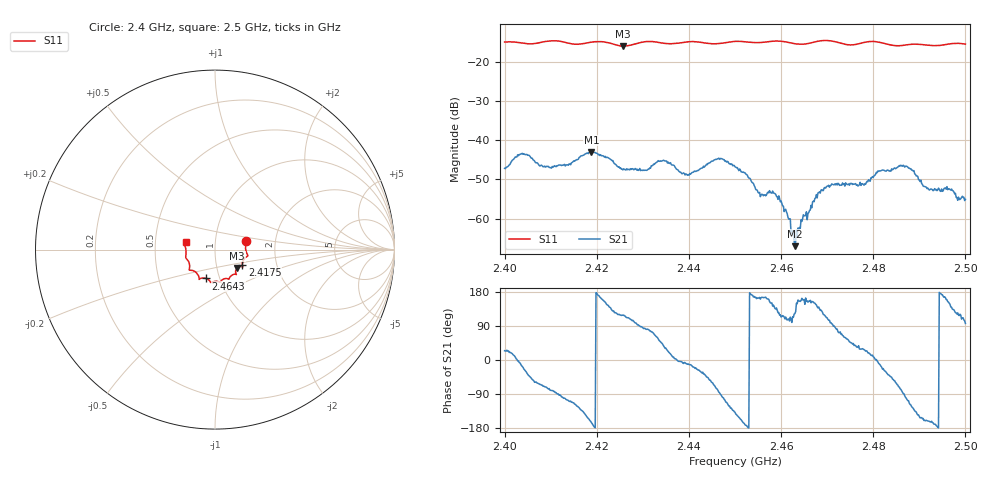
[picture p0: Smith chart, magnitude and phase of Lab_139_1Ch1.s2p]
# Hz S RI R 50
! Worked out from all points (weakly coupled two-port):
!   601 points, 2.4 GHz to 2.5 GHz, reference 50 ohm
!   highest |S21| = -42.97 dB at 2.4188 GHz (marker M1); lowest = -67.0 dB at 2.463 GHz (marker M2)
!   lowest |S11| = -15.9 dB at 2.4257 GHz (marker M3), VSWR 1.38, Z = 62.5 - j13.1 ohm
!   |S11| at or under -10 dB: start of sweep to end of sweep
!   S12 and S22 are empty: the file has one direction only
!   S11 on the Smith chart (normalised r, x): 2.4 GHz: 1.41, +0.14; 2.4175 GHz: 1.33, -0.23; 2.4643 GHz: 0.86, -0.29; 2.5 GHz: 0.72, +0.06
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2.4e9  0.1728 0.0488  0.00399 0.00182  0 0  0 0
2.403667e9  0.1728 0.0286  0.00649 -0.00172  0 0  0 0
2.41e9  0.183 -0.0329  0.000771 -0.0044  0 0  0 0
2.416667e9  0.153 -0.0743  -0.0043 -0.00466  0 0  0 0
2.4175e9  0.1517 -0.0836  -0.0054 -0.00397  0 0  0 0
2.418833e9  0.1524 -0.0941  -0.00687 -0.00182  0 0  0 0
2.425667e9  0.1228 -0.1019  -0.00196 0.0037  0 0  0 0
2.433333e9  0.1132 -0.1373  0.0031 0.00455  0 0  0 0
2.4395e9  0.0793 -0.1617  0.00363 -0.000636  0 0  0 0
2.446e9  0.0477 -0.1642  0.00141 -0.00553  0 0  0 0
2.45e9  0.029 -0.181  -0.00341 -0.00307  0 0  0 0
2.4555e9  -0.00232 -0.1772  -0.0018 0.00063  0 0  0 0
2.459167e9  -0.0227 -0.1837  -0.00124 0.00143  0 0  0 0
2.463e9  -0.0364 -0.167  -0.00024 0.000375  0 0  0 0
2.464333e9  -0.0497 -0.1608  -0.000891 0.000377  0 0  0 0
2.466667e9  -0.0759 -0.1593  -0.00125 0.000585  0 0  0 0
2.469833e9  -0.0885 -0.1662  -0.000957 0.00237  0 0  0 0
2.477833e9  -0.1339 -0.1151  0.0024 0.00132  0 0  0 0
2.483333e9  -0.1411 -0.0899  0.00318 -0.00262  0 0  0 0
2.487e9  -0.1551 -0.056  -0.000687 -0.00462  0 0  0 0
2.491667e9  -0.1617 -0.0287  -0.00227 -0.000824  0 0  0 0
2.5e9  -0.1637 0.0429  -0.0002 0.00176  0 0  0 0
